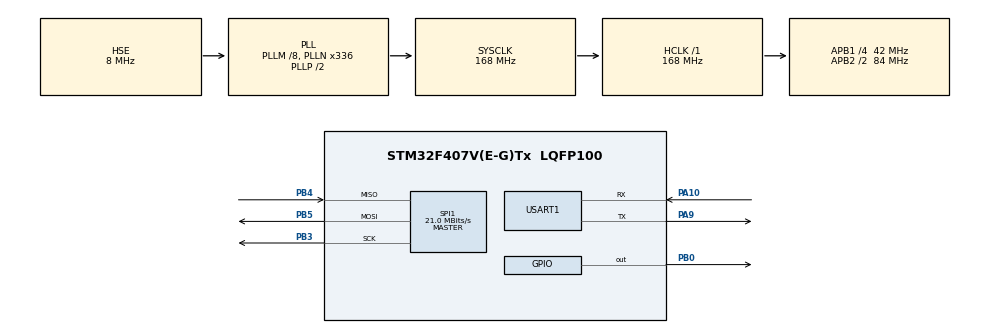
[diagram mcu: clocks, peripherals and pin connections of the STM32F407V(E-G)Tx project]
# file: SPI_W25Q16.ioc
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Mcu.Family=STM32F4
Mcu.Name=STM32F407V(E-G)Tx
Mcu.Package=LQFP100
NVIC.PriorityGroup=NVIC_PRIORITYGROUP_4
PA10.Mode=Asynchronous
PA10.Signal=USART1_RX
PA9.Mode=Asynchronous
PA9.Signal=USART1_TX
PB0.Signal=GPIO_Output
PB3.Mode=Full_Duplex_Master
PB3.Signal=SPI1_SCK
PB4.Mode=Full_Duplex_Master
PB4.Signal=SPI1_MISO
PB5.Mode=Full_Duplex_Master
PB5.Signal=SPI1_MOSI
PH0-OSC_IN.Mode=HSE-External-Oscillator
PH0-OSC_IN.Signal=RCC_OSC_IN
PH1-OSC_OUT.Mode=HSE-External-Oscillator
PH1-OSC_OUT.Signal=RCC_OSC_OUT
ProjectManager.HeapSize=0x200
ProjectManager.StackSize=0x400
ProjectManager.TargetToolchain=MDK-ARM V5
RCC.48MHZClocksFreq_Value=84000000
RCC.AHBFreq_Value=168000000
RCC.APB1CLKDivider=RCC_HCLK_DIV4
RCC.APB1Freq_Value=42000000
RCC.APB1TimFreq_Value=84000000
RCC.APB2CLKDivider=RCC_HCLK_DIV2
RCC.APB2Freq_Value=84000000
RCC.APB2TimFreq_Value=168000000
RCC.CortexFreq_Value=168000000
RCC.HCLKFreq_Value=168000000
RCC.HSE_VALUE=8000000
RCC.HSI_VALUE=16000000
RCC.LSE_VALUE=32768
RCC.PLLM=8
RCC.PLLN=336
RCC.PLLSourceVirtual=RCC_PLLSOURCE_HSE
RCC.SYSCLKFreq_VALUE=168000000
RCC.SYSCLKSource=RCC_SYSCLKSOURCE_PLLCLK
RCC.VCOOutputFreq_Value=336000000
SPI1.BaudRatePrescaler=SPI_BAUDRATEPRESCALER_4
SPI1.CalculateBaudRate=21.0 MBits/s
SPI1.Direction=SPI_DIRECTION_2LINES
SPI1.Mode=SPI_MODE_MASTER
SPI1.VirtualType=VM_MASTER
USART1.VirtualMode=VM_ASYNC
board=custom

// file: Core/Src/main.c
/* USER CODE BEGIN Header */
/**
  ******************************************************************************
  * @file           : main.c
  * @brief          : Main program body
  ******************************************************************************
  * @attention
  *
  * Copyright (c) 2022 STMicroelectronics.
  * All rights reserved.
  *
  * This software is licensed under terms that can be found in the LICENSE file
  * in the root directory of this software component.
  * If no LICENSE file comes with this software, it is provided AS-IS.
  *
  ******************************************************************************
  */
/* USER CODE END Header */
#include "main.h"
#include "spi.h"
#include "usart.h"
#include "gpio.h"

/* USER CODE BEGIN Includes */
#include "stdio.h"
#include "w25qxx.h"
/* USER CODE END Includes */

/* USER CODE BEGIN PV */
uint8_t RD_Buffer[5000] = {0};
uint8_t WR_Buffer[5000] = "SPI FLASH WRITE TEST\n";
/* USER CODE END PV */

void SystemClock_Config(void);

/* USER CODE BEGIN 0 */
int fputc(int ch, FILE *p)
{
	while(!(USART1->SR & (1<<7)));

	USART1->DR = ch;

	return ch;
}
/* USER CODE END 0 */

int main(void)
{
  /* USER CODE BEGIN 1 */
	uint16_t FLASH_ID = 0;
	uint32_t i;

  /* USER CODE END 1 */

  /* MCU Configuration--------------------------------------------------------*/

  /* Reset of all peripherals, Initializes the Flash interface and the Systick. */
  HAL_Init();

  /* Configure the system clock */
  SystemClock_Config();

  /* Initialize all configured peripherals */
  MX_GPIO_Init();
  MX_SPI1_Init();
  MX_USART1_UART_Init();
  /* USER CODE BEGIN 2 */
  printf("this is spi flash test\n");

	FLASH_ID = sFLASH_ReadID();

	printf("FLASH_ID = %x\n",FLASH_ID);
	/*测试擦除*/
	sFLASH_EraseSector(4096*0);
	sFLASH_EraseSector(4096*1);
	sFLASH_ReadBuffer(RD_Buffer,0,4096);
	printf("读数据开始\n");
	for(i=0; i<4096; i++)
	{
		printf("%x ",RD_Buffer[i]);
	}
	printf("读数据结束\n");

//	/*测试写操作1*/
	//sFLASH_WritePage(WR_Buffer,0, 20);
	//sFLASH_ReadBuffer(RD_Buffer,0,20);
	//printf("READ DATA: %s\n",RD_Buffer);

	/*测试写操作2*/
	for(i=0; i<4096; i++)
	{
		WR_Buffer[i] = 0x55;
	}
	sFLASH_WriteBuffer(WR_Buffer,4090, 1000);
	sFLASH_ReadBuffer(RD_Buffer,4090,1000);
	for(i=0; i<1000; i++)
	{
		printf("%x ",RD_Buffer[i]);
	}

  /* USER CODE END 2 */

  /* Infinite loop */
  while (1)
  {

  }
}

void SystemClock_Config(void)
{
  RCC_OscInitTypeDef RCC_OscInitStruct = {0};
  RCC_ClkInitTypeDef RCC_ClkInitStruct = {0};

  /** Configure the main internal regulator output voltage
  */
  __HAL_RCC_PWR_CLK_ENABLE();
  __HAL_PWR_VOLTAGESCALING_CONFIG(PWR_REGULATOR_VOLTAGE_SCALE1);

  /** Initializes the RCC Oscillators according to the specified parameters
  * in the RCC_OscInitTypeDef structure.
  */
  RCC_OscInitStruct.OscillatorType = RCC_OSCILLATORTYPE_HSE;
  RCC_OscInitStruct.HSEState = RCC_HSE_ON;
  RCC_OscInitStruct.PLL.PLLState = RCC_PLL_ON;
  RCC_OscInitStruct.PLL.PLLSource = RCC_PLLSOURCE_HSE;
  RCC_OscInitStruct.PLL.PLLM = 8;
  RCC_OscInitStruct.PLL.PLLN = 336;
  RCC_OscInitStruct.PLL.PLLP = RCC_PLLP_DIV2;
  RCC_OscInitStruct.PLL.PLLQ = 4;
  if (HAL_RCC_OscConfig(&RCC_OscInitStruct) != HAL_OK)
  {
    Error_Handler();
  }

  /** Initializes the CPU, AHB and APB buses clocks
  */
  RCC_ClkInitStruct.ClockType = RCC_CLOCKTYPE_HCLK|RCC_CLOCKTYPE_SYSCLK
                              |RCC_CLOCKTYPE_PCLK1|RCC_CLOCKTYPE_PCLK2;
  RCC_ClkInitStruct.SYSCLKSource = RCC_SYSCLKSOURCE_PLLCLK;
  RCC_ClkInitStruct.AHBCLKDivider = RCC_SYSCLK_DIV1;
  RCC_ClkInitStruct.APB1CLKDivider = RCC_HCLK_DIV4;
  RCC_ClkInitStruct.APB2CLKDivider = RCC_HCLK_DIV2;

  if (HAL_RCC_ClockConfig(&RCC_ClkInitStruct, FLASH_LATENCY_5) != HAL_OK)
  {
    Error_Handler();
  }
}

void Error_Handler(void)
{
  __disable_irq();
  while (1)
  {
  }
}
